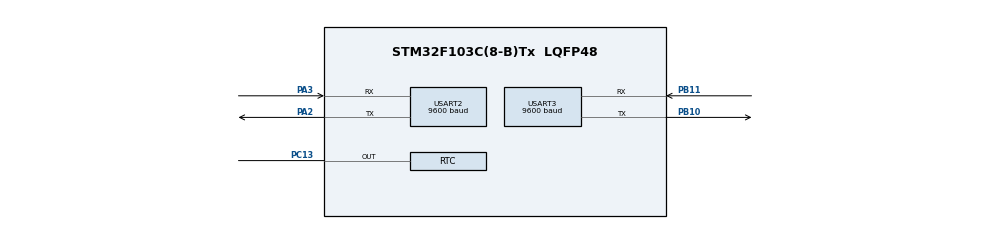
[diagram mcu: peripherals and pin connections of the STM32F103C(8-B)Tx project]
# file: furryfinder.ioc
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Dma.Request0=USART2_RX
Dma.Request1=USART3_TX
Dma.Request2=USART3_RX
Dma.USART2_RX.0.Direction=DMA_PERIPH_TO_MEMORY
Dma.USART2_RX.0.Instance=DMA1_Channel6
Dma.USART2_RX.0.MemDataAlignment=DMA_MDATAALIGN_BYTE
Dma.USART2_RX.0.MemInc=DMA_MINC_ENABLE
Dma.USART2_RX.0.Mode=DMA_NORMAL
Dma.USART2_RX.0.PeriphDataAlignment=DMA_PDATAALIGN_BYTE
Dma.USART2_RX.0.PeriphInc=DMA_PINC_DISABLE
Dma.USART2_RX.0.Priority=DMA_PRIORITY_HIGH
Dma.USART3_RX.2.Direction=DMA_PERIPH_TO_MEMORY
Dma.USART3_RX.2.Instance=DMA1_Channel3
Dma.USART3_RX.2.MemDataAlignment=DMA_MDATAALIGN_BYTE
Dma.USART3_RX.2.MemInc=DMA_MINC_ENABLE
Dma.USART3_RX.2.Mode=DMA_NORMAL
Dma.USART3_RX.2.PeriphDataAlignment=DMA_PDATAALIGN_BYTE
Dma.USART3_RX.2.PeriphInc=DMA_PINC_DISABLE
Dma.USART3_RX.2.Priority=DMA_PRIORITY_LOW
Dma.USART3_TX.1.Direction=DMA_MEMORY_TO_PERIPH
Dma.USART3_TX.1.Instance=DMA1_Channel2
Dma.USART3_TX.1.MemDataAlignment=DMA_MDATAALIGN_BYTE
Dma.USART3_TX.1.MemInc=DMA_MINC_ENABLE
Dma.USART3_TX.1.Mode=DMA_NORMAL
Dma.USART3_TX.1.PeriphDataAlignment=DMA_PDATAALIGN_BYTE
Dma.USART3_TX.1.PeriphInc=DMA_PINC_DISABLE
Dma.USART3_TX.1.Priority=DMA_PRIORITY_LOW
Mcu.Family=STM32F1
Mcu.Name=STM32F103C(8-B)Tx
Mcu.Package=LQFP48
NVIC.DMA1_Channel2_IRQn=true\:0\:0\:false\:false\:true\:false\:true\:true
NVIC.DMA1_Channel3_IRQn=true\:0\:0\:false\:false\:true\:false\:true\:true
NVIC.DMA1_Channel6_IRQn=true\:0\:0\:false\:false\:true\:false\:true\:true
NVIC.PriorityGroup=NVIC_PRIORITYGROUP_4
NVIC.RTC_Alarm_IRQn=true\:0\:0\:false\:false\:true\:true\:true\:true
NVIC.USART2_IRQn=true\:0\:0\:false\:false\:true\:true\:true\:true
NVIC.USART3_IRQn=true\:0\:0\:false\:false\:true\:true\:true\:true
PA13.Mode=Serial_Wire
PA13.Signal=SYS_JTMS-SWDIO
PA14.Mode=Serial_Wire
PA14.Signal=SYS_JTCK-SWCLK
PA2.Mode=Asynchronous
PA2.Signal=USART2_TX
PA3.Mode=Asynchronous
PA3.Signal=USART2_RX
PB10.Mode=Asynchronous
PB10.Signal=USART3_TX
PB11.Mode=Asynchronous
PB11.Signal=USART3_RX
PC13-TAMPER-RTC.Mode=RTC OUT
PC13-TAMPER-RTC.Signal=RTC_OUT
PC14-OSC32_IN.Mode=LSE-External-Oscillator
PC14-OSC32_IN.Signal=RCC_OSC32_IN
PC15-OSC32_OUT.Mode=LSE-External-Oscillator
PC15-OSC32_OUT.Signal=RCC_OSC32_OUT
PD0-OSC_IN.Mode=HSE-External-Oscillator
PD0-OSC_IN.Signal=RCC_OSC_IN
PD1-OSC_OUT.Mode=HSE-External-Oscillator
PD1-OSC_OUT.Signal=RCC_OSC_OUT
ProjectManager.HeapSize=0x200
ProjectManager.StackSize=0x400
ProjectManager.TargetToolchain=STM32CubeIDE
RCC.APB1Freq_Value=8000000
RCC.APB2Freq_Value=8000000
RCC.PLLSourceVirtual=RCC_PLLSOURCE_HSE
RCC.RTCClockSelection=RCC_RTCCLKSOURCE_LSE
RCC.SYSCLKSource=RCC_SYSCLKSOURCE_HSE
RCC.USBFreq_Value=16000000
RTC.Hours_A-RTC\ OUT=0
RTC.Minutes_A-RTC\ OUT=0
RTC.Seconds_A-RTC\ OUT=0
USART2.BaudRate=9600
USART2.VirtualMode=VM_ASYNC
USART3.BaudRate=9600
USART3.VirtualMode=VM_ASYNC
VP_RTC_VS_RTC_Activate.Mode=RTC_Enabled
VP_RTC_VS_RTC_Calendar.Mode=RTC_Calendar
board=custom

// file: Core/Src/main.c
/* USER CODE BEGIN Header */
/**
 ******************************************************************************
 * @file           : main.c
 * @brief          : Main program body
 ******************************************************************************
 * @attention
 *
 * Copyright (c) 2023 STMicroelectronics.
 * All rights reserved.
 *
 * This software is licensed under terms that can be found in the LICENSE file
 * in the root directory of this software component.
 * If no LICENSE file comes with this software, it is provided AS-IS.
 *
 ******************************************************************************
 */
/* USER CODE END Header */
#include "main.h"

/* USER CODE BEGIN Includes */
#include <stdio.h>
#include <stdint.h>
#include <string.h>
#include "sim800l.h"
#include "nmea.h"
#include "usart.h"
/* USER CODE END Includes */

/* USER CODE BEGIN PD */
#define URL_LEN 150
#define SMS_LEN 75

#define MAX_BATTERY_VOLTAGE 4200
#define MIN_BATTERY_VOLTAGE 3400
/* USER CODE END PD */

RTC_HandleTypeDef hrtc;

UART_HandleTypeDef huart2;
UART_HandleTypeDef huart3;
DMA_HandleTypeDef hdma_usart2_rx;
DMA_HandleTypeDef hdma_usart3_tx;
DMA_HandleTypeDef hdma_usart3_rx;

/* USER CODE BEGIN PV */
//USART 2 - GPS
//USART 3 - SIM800L
uint8_t decoy[NMEA0183_MAX_LENGTH + 1] = "$GPRMC,203522.00,A,5109.0262308,N,11401.8407342,W,0.004,133.4,130522,0.0,E,D*2B\r\n";

extern uint8_t usart2_buffer[2];
extern uint8_t usart3_buffer[2];
extern uint8_t sentence[NMEA0183_MAX_LENGTH + 1];

extern bool gpsSentenceReady;
extern bool simResponseReady;

bool connectToInternet = false;
bool sendBatteryPercentage = true;

uint8_t GPSLat[15];
uint8_t GPSLong[15];

uint8_t elDiegoDesbordado = 0;
uint8_t perc = 0;

uint8_t state = 0;

uint32_t UDID = /*100*/80085;

/* USER CODE END PV */

void SystemClock_Config(void);
static void MX_GPIO_Init(void);
static void MX_DMA_Init(void);
static void MX_USART2_UART_Init(void);
static void MX_USART3_UART_Init(void);
static void MX_RTC_Init(void);
/* USER CODE BEGIN PFP */
//uint16_t VoltageToPercentage(uint16_t);
/* USER CODE END PFP */

int main(void)
{

  /* MCU Configuration--------------------------------------------------------*/

  /* Reset of all peripherals, Initializes the Flash interface and the Systick. */
  HAL_Init();

  /* Configure the system clock */
  SystemClock_Config();

  /* Initialize all configured peripherals */
  MX_GPIO_Init();
  MX_DMA_Init();
  MX_USART2_UART_Init();
  MX_USART3_UART_Init();
  MX_RTC_Init();
  /* USER CODE BEGIN 2 */

	GPRMC_t GPS;

	uint8_t url[URL_LEN];
	uint8_t sms[SMS_LEN];
	uint8_t check = 0;
	uint8_t check2 = 0;
	uint16_t volt = 0;

	bool bypass = false;

	SIM800L_Wakeup();
	SIM800L_Reset();

	HAL_Delay(2000);

	HAL_UART_Receive_DMA(&huart2, usart2_buffer, 1);
	HAL_UART_Receive_DMA(&huart3, usart3_buffer, 1);

	state = GPS_UPDATE; //Outside while statement, but inside of main so it's executed upon wakeup
  /* USER CODE END 2 */

  /* Infinite loop */
  /* USER CODE BEGIN WHILE */
	while(1)
	{
		switch(state)
		{
			case GPS_UPDATE:
				if(gpsSentenceReady)
				{
					if(!ParseGPRMC(sentence, &GPS))
					{
						if(CalculateChecksum(sentence) == GPS.checksum)
						{
              BuildGPSCoord(GPS.latdeg, GPS.Hlatmin, GPS.Llatmin, GPS.latdir, GPSLat);
              BuildGPSCoord(GPS.longdeg, GPS.Hlongmin, GPS.Llongmin, GPS.longdir, GPSLong);
							sprintf(url,"AT+HTTPPARA=\"URL\",\"http://186.13.143.39:80/gpsdata.php\?lat=%s&lng=%s&did=%ld\"\n\r", GPSLat, GPSLong, UDID);

							state = WEB_UPDATE;
						}
					}
				}
				break;

			case WEB_UPDATE:
				check = SIM800L_WEBUpdate(url);
				switch(check)
				{
					case SUCCESS:
						state = BAT_UPDATE;
						//HAL_Delay(5000);

						break;

					case FATAL_ERROR:
						state = GPS_UPDATE; //Continuing because I have no idea what it's actually supposed to do
						break;
				}
				break;

			case BAT_UPDATE:
				if(/*elDiegoDesbordado >= 2*/1) //Bypassing because everything gets reset and the variable is always 0
				{
					if(!bypass) check = SIM800L_BatteryCheck(&volt);

					switch(check)
					{
						case SUCCESS:
							if(!bypass)
							{
								perc = VoltageToPercentage(volt);
								sprintf(url, "AT+HTTPPARA=\"URL\",\"http://186.13.143.39:80/bl.php\?bl=%d&did=%ld\"\n\r", perc, UDID);
								//HAL_Delay(1000);
								bypass = true;
							}

							check2 = SIM800L_WEBUpdate(url);
							switch(check2) //They are identical for some reason, leaving it in in case it's a mistake (ask Lucas)
							{
								case SUCCESS:
                  if(perc <= 10 && sendBatteryPercentage)
                  {
                    sprintf(sms, "Advertencia: Batería baja. Porcentaje: %d%%\n\r\x1A", perc);
                    sendBatteryPercentage = false;
                    state = AYUDAME_LOCOOOOOOOOOO;
                  }
                  else
                  {
									  state = A_MIMIR;
                  }

								case FATAL_ERROR:
									bypass = false;
									break;
							}

							break;

						case FATAL_ERROR:
							//Do something, I guess?
							break;
					}
				}
				else
				{
					state = A_MIMIR;
				}
				break;

			case A_MIMIR:
				RTC_Sleep(1);
				break;

      case AYUDAME_LOCOOOOOOOOOO:
        check = SIM800L_SendSMS(sms);
        switch(check)
        {
          case SUCCESS:
            state = A_MIMIR;
            break;

          case FATAL_ERROR:
            state = A_MIMIR;
            break;
        }
        break;
		}
	}
    /* USER CODE END WHILE */

}

void SystemClock_Config(void)
{
  RCC_OscInitTypeDef RCC_OscInitStruct = {0};
  RCC_ClkInitTypeDef RCC_ClkInitStruct = {0};
  RCC_PeriphCLKInitTypeDef PeriphClkInit = {0};

  /** Initializes the RCC Oscillators according to the specified parameters
  * in the RCC_OscInitTypeDef structure.
  */
  RCC_OscInitStruct.OscillatorType = RCC_OSCILLATORTYPE_HSE|RCC_OSCILLATORTYPE_LSE;
  RCC_OscInitStruct.HSEState = RCC_HSE_ON;
  RCC_OscInitStruct.LSEState = RCC_LSE_ON;
  RCC_OscInitStruct.PLL.PLLState = RCC_PLL_NONE;
  if (HAL_RCC_OscConfig(&RCC_OscInitStruct) != HAL_OK)
  {
    Error_Handler();
  }

  /** Initializes the CPU, AHB and APB buses clocks
  */
  RCC_ClkInitStruct.ClockType = RCC_CLOCKTYPE_HCLK|RCC_CLOCKTYPE_SYSCLK
                              |RCC_CLOCKTYPE_PCLK1|RCC_CLOCKTYPE_PCLK2;
  RCC_ClkInitStruct.SYSCLKSource = RCC_SYSCLKSOURCE_HSE;
  RCC_ClkInitStruct.AHBCLKDivider = RCC_SYSCLK_DIV1;
  RCC_ClkInitStruct.APB1CLKDivider = RCC_HCLK_DIV1;
  RCC_ClkInitStruct.APB2CLKDivider = RCC_HCLK_DIV1;

  if (HAL_RCC_ClockConfig(&RCC_ClkInitStruct, FLASH_LATENCY_0) != HAL_OK)
  {
    Error_Handler();
  }
  PeriphClkInit.PeriphClockSelection = RCC_PERIPHCLK_RTC;
  PeriphClkInit.RTCClockSelection = RCC_RTCCLKSOURCE_LSE;
  if (HAL_RCCEx_PeriphCLKConfig(&PeriphClkInit) != HAL_OK)
  {
    Error_Handler();
  }
}

static void MX_RTC_Init(void)
{

  RTC_TimeTypeDef sTime = {0};
  RTC_DateTypeDef DateToUpdate = {0};
  RTC_AlarmTypeDef sAlarm = {0};

  /** Initialize RTC Only
  */
  hrtc.Instance = RTC;
  hrtc.Init.AsynchPrediv = RTC_AUTO_1_SECOND;
  hrtc.Init.OutPut = RTC_OUTPUTSOURCE_ALARM;
  if (HAL_RTC_Init(&hrtc) != HAL_OK)
  {
    Error_Handler();
  }

  /** Initialize RTC and set the Time and Date
  */
  sTime.Hours = 0x0;
  sTime.Minutes = 0x0;
  sTime.Seconds = 0x0;

  if (HAL_RTC_SetTime(&hrtc, &sTime, RTC_FORMAT_BCD) != HAL_OK)
  {
    Error_Handler();
  }
  DateToUpdate.WeekDay = RTC_WEEKDAY_MONDAY;
  DateToUpdate.Month = RTC_MONTH_JANUARY;
  DateToUpdate.Date = 0x1;
  DateToUpdate.Year = 0x0;

  if (HAL_RTC_SetDate(&hrtc, &DateToUpdate, RTC_FORMAT_BCD) != HAL_OK)
  {
    Error_Handler();
  }

  /** Enable the Alarm A
  */
  sAlarm.AlarmTime.Hours = 0x0;
  sAlarm.AlarmTime.Minutes = 0x0;
  sAlarm.AlarmTime.Seconds = 0x0;
  sAlarm.Alarm = RTC_ALARM_A;
  if (HAL_RTC_SetAlarm_IT(&hrtc, &sAlarm, RTC_FORMAT_BCD) != HAL_OK)
  {
    Error_Handler();
  }

}

static void MX_USART2_UART_Init(void)
{

  huart2.Instance = USART2;
  huart2.Init.BaudRate = 9600;
  huart2.Init.WordLength = UART_WORDLENGTH_8B;
  huart2.Init.StopBits = UART_STOPBITS_1;
  huart2.Init.Parity = UART_PARITY_NONE;
  huart2.Init.Mode = UART_MODE_TX_RX;
  huart2.Init.HwFlowCtl = UART_HWCONTROL_NONE;
  huart2.Init.OverSampling = UART_OVERSAMPLING_16;
  if (HAL_UART_Init(&huart2) != HAL_OK)
  {
    Error_Handler();
  }

}

static void MX_USART3_UART_Init(void)
{

  huart3.Instance = USART3;
  huart3.Init.BaudRate = 9600;
  huart3.Init.WordLength = UART_WORDLENGTH_8B;
  huart3.Init.StopBits = UART_STOPBITS_1;
  huart3.Init.Parity = UART_PARITY_NONE;
  huart3.Init.Mode = UART_MODE_TX_RX;
  huart3.Init.HwFlowCtl = UART_HWCONTROL_NONE;
  huart3.Init.OverSampling = UART_OVERSAMPLING_16;
  if (HAL_UART_Init(&huart3) != HAL_OK)
  {
    Error_Handler();
  }

}

static void MX_DMA_Init(void)
{

  /* DMA controller clock enable */
  __HAL_RCC_DMA1_CLK_ENABLE();

  /* DMA interrupt init */
  /* DMA1_Channel2_IRQn interrupt configuration */
  HAL_NVIC_SetPriority(DMA1_Channel2_IRQn, 0, 0);
  HAL_NVIC_EnableIRQ(DMA1_Channel2_IRQn);
  /* DMA1_Channel3_IRQn interrupt configuration */
  HAL_NVIC_SetPriority(DMA1_Channel3_IRQn, 0, 0);
  HAL_NVIC_EnableIRQ(DMA1_Channel3_IRQn);
  /* DMA1_Channel6_IRQn interrupt configuration */
  HAL_NVIC_SetPriority(DMA1_Channel6_IRQn, 0, 0);
  HAL_NVIC_EnableIRQ(DMA1_Channel6_IRQn);

}

static void MX_GPIO_Init(void)
{

  /* GPIO Ports Clock Enable */
  __HAL_RCC_GPIOC_CLK_ENABLE();
  __HAL_RCC_GPIOD_CLK_ENABLE();
  __HAL_RCC_GPIOA_CLK_ENABLE();
  __HAL_RCC_GPIOB_CLK_ENABLE();

}

/* USER CODE BEGIN 4 */

uint16_t VoltageToPercentage(uint16_t Volt) {
	uint16_t aux = ((MAX_BATTERY_VOLTAGE - MIN_BATTERY_VOLTAGE)
			- (MAX_BATTERY_VOLTAGE - Volt)) * 100
			/ (MAX_BATTERY_VOLTAGE - MIN_BATTERY_VOLTAGE);
	return aux;
	}

void RTC_Sleep(uint8_t min)
{
  RTC_AlarmTypeDef aux;
  RTC_TimeTypeDef currTime;

	//Perform power-down tasks
	SIM800L_Sleep(); //Put SIM800L to sleep

	//Timer mode calculation
  aux.Alarm = RTC_ALARM_A;

   HAL_RTC_GetTime(&hrtc, &currTime, RTC_FORMAT_BIN);

  aux.AlarmTime = currTime;

  aux.AlarmTime.Minutes += min; //This is buggy, in theory min can't be a value higher than 196 or else it will overflow
  if(aux.AlarmTime.Minutes > 59)
  {
    aux.AlarmTime.Minutes = 0;
    aux.AlarmTime.Hours++;
  }

  aux.AlarmTime.Hours += (min / 60); //Should be an integer division, ffs
  if(aux.AlarmTime.Hours > 23) aux.AlarmTime.Hours = 0;

	HAL_RTC_SetAlarm_IT(&hrtc, &aux, RTC_FORMAT_BIN);

	//Final powerdown
	HAL_SuspendTick();

  //Clear leftover flags
  __HAL_PWR_CLEAR_FLAG(PWR_FLAG_SB);
  __HAL_PWR_CLEAR_FLAG(PWR_FLAG_WU);

//Goodnight my sweet prince
	HAL_PWR_EnterSTANDBYMode();

}

void HAL_RTC_AlarmAEventCallback(RTC_HandleTypeDef *hrtc) //Executed upon wakeup
{
	if(__HAL_PWR_GET_FLAG(PWR_FLAG_SB) != RESET)
	{
	  __HAL_PWR_CLEAR_FLAG(PWR_FLAG_SB);
	  __HAL_PWR_CLEAR_FLAG(PWR_FLAG_WU);
		HAL_ResumeTick(); //Wakey wakey
		/*
		MX_USART3_UART_Init();
		SIM800L_Wakeup(); //Wake up the SIM800L module

	  //These lines below might not be necessary at all
		HAL_UART_Receive_DMA(&huart2, usart2_buffer, 1);
		state = GPS_UPDATE; //Reset machine state
		//
		 * */

//Gets reset
		/*
	  if(elDiegoDesbordado < 10)
	  {
		elDiegoDesbordado++;
	  }
	  else
	  {
		elDiegoDesbordado = 0;
	  }

	  if(UDID < 500)
	  {
		UDID += 100;
	  }
	  else
	  {
		UDID = 0;
	  }
*/
	}
}

/* USER CODE END 4 */

void Error_Handler(void)
{
		__disable_irq();
		while (1) {
		}
}
